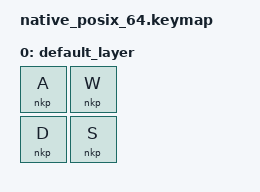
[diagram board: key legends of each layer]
#include <dt-bindings/zmk/keys.h>
#include <behaviors.dtsi>
#include <dt-bindings/zmk/kscan_mock.h>

/*
 * Press in sequence WASD. Release in every possible way.
 * Non-overlap keys that remain pressed should be re-pressed in the correct order.
 */

&nkp {
    keep-active-size = <4>;
};

/ {
    keymap {
        compatible = "zmk,keymap";

        default_layer {
            bindings = <
                &nkp A &nkp W
                &nkp D &nkp S>;
        };
    };
};

&kscan {
    events = <
        // Release DSWA. Re-press SA.
        ZMK_MOCK_PRESS(0,1,10)   // W
        ZMK_MOCK_PRESS(0,0,10)   // A
        ZMK_MOCK_PRESS(1,1,10)   // S
        ZMK_MOCK_PRESS(1,0,10)   // D
        ZMK_MOCK_RELEASE(1,0,10) // D
        ZMK_MOCK_RELEASE(1,1,10) // S
        ZMK_MOCK_RELEASE(0,1,10) // W
        ZMK_MOCK_RELEASE(0,0,10) // A
        // Release DASW. Re-press SW.
        ZMK_MOCK_PRESS(0,1,10)   // W
        ZMK_MOCK_PRESS(0,0,10)   // A
        ZMK_MOCK_PRESS(1,1,10)   // S
        ZMK_MOCK_PRESS(1,0,10)   // D
        ZMK_MOCK_RELEASE(1,0,10) // D
        ZMK_MOCK_RELEASE(0,0,10) // A
        ZMK_MOCK_RELEASE(1,1,10) // S
        ZMK_MOCK_RELEASE(0,1,10) // W
        // Release DAWS. Re-press S.
        ZMK_MOCK_PRESS(0,1,10)   // W
        ZMK_MOCK_PRESS(0,0,10)   // A
        ZMK_MOCK_PRESS(1,1,10)   // S
        ZMK_MOCK_PRESS(1,0,10)   // D
        ZMK_MOCK_RELEASE(1,0,10) // D
        ZMK_MOCK_RELEASE(0,0,10) // A
        ZMK_MOCK_RELEASE(0,1,10) // W
        ZMK_MOCK_RELEASE(1,1,10) // S
        // Release DWSA. Re-press SA.
        ZMK_MOCK_PRESS(0,1,10)   // W
        ZMK_MOCK_PRESS(0,0,10)   // A
        ZMK_MOCK_PRESS(1,1,10)   // S
        ZMK_MOCK_PRESS(1,0,10)   // D
        ZMK_MOCK_RELEASE(1,0,10) // D
        ZMK_MOCK_RELEASE(0,1,10) // W
        ZMK_MOCK_RELEASE(1,1,10) // S
        ZMK_MOCK_RELEASE(0,0,10) // A
        // Release DWAS. Re-press S.
        ZMK_MOCK_PRESS(0,1,10)   // W
        ZMK_MOCK_PRESS(0,0,10)   // A
        ZMK_MOCK_PRESS(1,1,10)   // S
        ZMK_MOCK_PRESS(1,0,10)   // D
        ZMK_MOCK_RELEASE(1,0,10) // D
        ZMK_MOCK_RELEASE(0,1,10) // W
        ZMK_MOCK_RELEASE(0,0,10) // A
        ZMK_MOCK_RELEASE(1,1,10) // S
        // Release SDAW. Re-press AW.
        ZMK_MOCK_PRESS(0,1,10)   // W
        ZMK_MOCK_PRESS(0,0,10)   // A
        ZMK_MOCK_PRESS(1,1,10)   // S
        ZMK_MOCK_PRESS(1,0,10)   // D
        ZMK_MOCK_RELEASE(1,1,10) // S
        ZMK_MOCK_RELEASE(1,0,10) // D
        ZMK_MOCK_RELEASE(0,0,10) // A
        ZMK_MOCK_RELEASE(0,1,10) // W
        // Release SDWA. Re-press A.
        ZMK_MOCK_PRESS(0,1,10)   // W
        ZMK_MOCK_PRESS(0,0,10)   // A
        ZMK_MOCK_PRESS(1,1,10)   // S
        ZMK_MOCK_PRESS(1,0,10)   // D
        ZMK_MOCK_RELEASE(1,1,10) // S
        ZMK_MOCK_RELEASE(1,0,10) // D
        ZMK_MOCK_RELEASE(0,1,10) // W
        ZMK_MOCK_RELEASE(0,0,10) // A
        // Release SADW. Re-press W.
        ZMK_MOCK_PRESS(0,1,10)   // W
        ZMK_MOCK_PRESS(0,0,10)   // A
        ZMK_MOCK_PRESS(1,1,10)   // S
        ZMK_MOCK_PRESS(1,0,10)   // D
        ZMK_MOCK_RELEASE(1,1,10) // S
        ZMK_MOCK_RELEASE(0,0,10) // A
        ZMK_MOCK_RELEASE(1,0,10) // D
        ZMK_MOCK_RELEASE(0,1,10) // W
        // Release SAWD. No re-press.
        ZMK_MOCK_PRESS(0,1,10)   // W
        ZMK_MOCK_PRESS(0,0,10)   // A
        ZMK_MOCK_PRESS(1,1,10)   // S
        ZMK_MOCK_PRESS(1,0,10)   // D
        ZMK_MOCK_RELEASE(1,1,10) // S
        ZMK_MOCK_RELEASE(0,0,10) // A
        ZMK_MOCK_RELEASE(0,1,10) // W
        ZMK_MOCK_RELEASE(1,0,10) // D
        // Release SWDA. Re-press A.
        ZMK_MOCK_PRESS(0,1,10)   // W
        ZMK_MOCK_PRESS(0,0,10)   // A
        ZMK_MOCK_PRESS(1,1,10)   // S
        ZMK_MOCK_PRESS(1,0,10)   // D
        ZMK_MOCK_RELEASE(1,1,10) // S
        ZMK_MOCK_RELEASE(0,1,10) // W
        ZMK_MOCK_RELEASE(1,0,10) // D
        ZMK_MOCK_RELEASE(0,0,10) // A
        // Release SWAD. No re-press.
        ZMK_MOCK_PRESS(0,1,10)   // W
        ZMK_MOCK_PRESS(0,0,10)   // A
        ZMK_MOCK_PRESS(1,1,10)   // S
        ZMK_MOCK_PRESS(1,0,10)   // D
        ZMK_MOCK_RELEASE(1,1,10) // S
        ZMK_MOCK_RELEASE(0,1,10) // W
        ZMK_MOCK_RELEASE(0,0,10) // A
        ZMK_MOCK_RELEASE(1,0,10) // D
        // Release ADSW. Re-press SW.
        ZMK_MOCK_PRESS(0,1,10)   // W
        ZMK_MOCK_PRESS(0,0,10)   // A
        ZMK_MOCK_PRESS(1,1,10)   // S
        ZMK_MOCK_PRESS(1,0,10)   // D
        ZMK_MOCK_RELEASE(0,0,10) // A
        ZMK_MOCK_RELEASE(1,0,10) // D
        ZMK_MOCK_RELEASE(1,1,10) // S
        ZMK_MOCK_RELEASE(0,1,10) // W
        // Release ADWS. Re-press S.
        ZMK_MOCK_PRESS(0,1,10)   // W
        ZMK_MOCK_PRESS(0,0,10)   // A
        ZMK_MOCK_PRESS(1,1,10)   // S
        ZMK_MOCK_PRESS(1,0,10)   // D
        ZMK_MOCK_RELEASE(0,0,10) // A
        ZMK_MOCK_RELEASE(1,0,10) // D
        ZMK_MOCK_RELEASE(0,1,10) // W
        ZMK_MOCK_RELEASE(1,1,10) // S
        // Release ASDW. Re-press W.
        ZMK_MOCK_PRESS(0,1,10)   // W
        ZMK_MOCK_PRESS(0,0,10)   // A
        ZMK_MOCK_PRESS(1,1,10)   // S
        ZMK_MOCK_PRESS(1,0,10)   // D
        ZMK_MOCK_RELEASE(0,0,10) // A
        ZMK_MOCK_RELEASE(1,1,10) // S
        ZMK_MOCK_RELEASE(1,0,10) // D
        ZMK_MOCK_RELEASE(0,1,10) // W
        // Release ASWD. No re-press.
        ZMK_MOCK_PRESS(0,1,10)   // W
        ZMK_MOCK_PRESS(0,0,10)   // A
        ZMK_MOCK_PRESS(1,1,10)   // S
        ZMK_MOCK_PRESS(1,0,10)   // D
        ZMK_MOCK_RELEASE(0,0,10) // A
        ZMK_MOCK_RELEASE(1,1,10) // S
        ZMK_MOCK_RELEASE(0,1,10) // W
        ZMK_MOCK_RELEASE(1,0,10) // D
        // Release AWDS. Re-press S.
        ZMK_MOCK_PRESS(0,1,10)   // W
        ZMK_MOCK_PRESS(0,0,10)   // A
        ZMK_MOCK_PRESS(1,1,10)   // S
        ZMK_MOCK_PRESS(1,0,10)   // D
        ZMK_MOCK_RELEASE(0,0,10) // A
        ZMK_MOCK_RELEASE(0,1,10) // W
        ZMK_MOCK_RELEASE(1,0,10) // D
        ZMK_MOCK_RELEASE(1,1,10) // S
        // Release AWSD. No re-press.
        ZMK_MOCK_PRESS(0,1,10)   // W
        ZMK_MOCK_PRESS(0,0,10)   // A
        ZMK_MOCK_PRESS(1,1,10)   // S
        ZMK_MOCK_PRESS(1,0,10)   // D
        ZMK_MOCK_RELEASE(0,0,10) // A
        ZMK_MOCK_RELEASE(0,1,10) // W
        ZMK_MOCK_RELEASE(1,1,10) // S
        ZMK_MOCK_RELEASE(1,0,10) // D
        // Release WDSA. Re-press SA.
        ZMK_MOCK_PRESS(0,1,10)   // W
        ZMK_MOCK_PRESS(0,0,10)   // A
        ZMK_MOCK_PRESS(1,1,10)   // S
        ZMK_MOCK_PRESS(1,0,10)   // D
        ZMK_MOCK_RELEASE(0,1,10) // W
        ZMK_MOCK_RELEASE(1,0,10) // D
        ZMK_MOCK_RELEASE(1,1,10) // S
        ZMK_MOCK_RELEASE(0,0,10) // A
        // Release WDAS. Re-press S.
        ZMK_MOCK_PRESS(0,1,10)   // W
        ZMK_MOCK_PRESS(0,0,10)   // A
        ZMK_MOCK_PRESS(1,1,10)   // S
        ZMK_MOCK_PRESS(1,0,10)   // D
        ZMK_MOCK_RELEASE(0,1,10) // W
        ZMK_MOCK_RELEASE(1,0,10) // D
        ZMK_MOCK_RELEASE(0,0,10) // A
        ZMK_MOCK_RELEASE(1,1,10) // S
        // Release WSDA. Re-press A.
        ZMK_MOCK_PRESS(0,1,10)   // W
        ZMK_MOCK_PRESS(0,0,10)   // A
        ZMK_MOCK_PRESS(1,1,10)   // S
        ZMK_MOCK_PRESS(1,0,10)   // D
        ZMK_MOCK_RELEASE(0,1,10) // W
        ZMK_MOCK_RELEASE(1,1,10) // S
        ZMK_MOCK_RELEASE(1,0,10) // D
        ZMK_MOCK_RELEASE(0,0,10) // A
        // Release WSAD. No re-press.
        ZMK_MOCK_PRESS(0,1,10)   // W
        ZMK_MOCK_PRESS(0,0,10)   // A
        ZMK_MOCK_PRESS(1,1,10)   // S
        ZMK_MOCK_PRESS(1,0,10)   // D
        ZMK_MOCK_RELEASE(0,1,10) // W
        ZMK_MOCK_RELEASE(1,1,10) // S
        ZMK_MOCK_RELEASE(0,0,10) // A
        ZMK_MOCK_RELEASE(1,0,10) // D
        // Release WADS. Re-press S.
        ZMK_MOCK_PRESS(0,1,10)   // W
        ZMK_MOCK_PRESS(0,0,10)   // A
        ZMK_MOCK_PRESS(1,1,10)   // S
        ZMK_MOCK_PRESS(1,0,10)   // D
        ZMK_MOCK_RELEASE(0,1,10) // W
        ZMK_MOCK_RELEASE(0,0,10) // A
        ZMK_MOCK_RELEASE(1,0,10) // D
        ZMK_MOCK_RELEASE(1,1,10) // S
        // Release WASD. No re-press.
        ZMK_MOCK_PRESS(0,1,10)   // W
        ZMK_MOCK_PRESS(0,0,10)   // A
        ZMK_MOCK_PRESS(1,1,10)   // S
        ZMK_MOCK_PRESS(1,0,10)   // D
        ZMK_MOCK_RELEASE(0,1,10) // W
        ZMK_MOCK_RELEASE(0,0,10) // A
        ZMK_MOCK_RELEASE(1,1,10) // S
        ZMK_MOCK_RELEASE(1,0,10) // D
    >;
};
